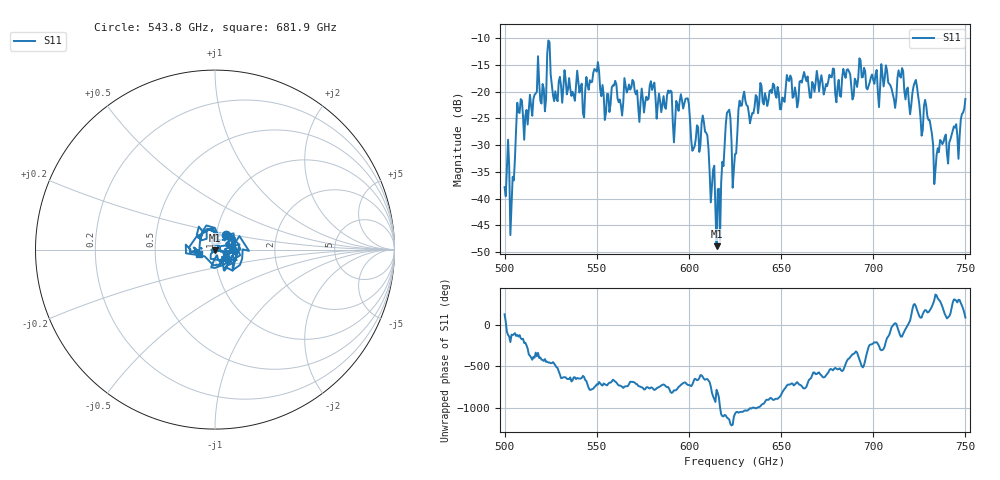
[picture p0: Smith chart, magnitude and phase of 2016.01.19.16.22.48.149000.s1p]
!Created with skrf (http://scikit-rf.org).
# GHz S RI R 50.0
!freq ReS11 ImS11
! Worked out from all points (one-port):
!   401 points, 500 GHz to 750 GHz, reference 50 ohm
!   lowest |S11| = -48.9 dB at 615 GHz (marker M1), VSWR 1.01, Z = 50.2 - j0.324 ohm
!   |S11| at or under -10 dB: start of sweep to end of sweep
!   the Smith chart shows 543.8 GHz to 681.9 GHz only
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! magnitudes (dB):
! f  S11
! 500 GHz  -37.9
! 504.4 GHz  -35.9
! 508.1 GHz  -24.0
! 521.2 GHz  -19.4
! 524.4 GHz  -10.7
! 527.5 GHz  -19.9
! 531.2 GHz  -22.1
! 542.5 GHz  -24.0
! 550 GHz  -16.2
! 553.8 GHz  -20.6
! 562.5 GHz  -21.5
! 593.8 GHz  -22.4
! 598.8 GHz  -21.2
! 602.5 GHz  -30.7
! 608.8 GHz  -27.5
! 615 GHz  -48.9
! 616.2 GHz  -38.2
! 621.2 GHz  -23.6
! 625 GHz  -31.7
! 628.8 GHz  -22.6
! 656.2 GHz  -21.1
! 687.5 GHz  -16.7
! 711.2 GHz  -21.4
! 715 GHz  -17.4
! 718.8 GHz  -19.2
! 723.1 GHz  -17.8
! 734.4 GHz  -31.8
! 750 GHz  -21.4
